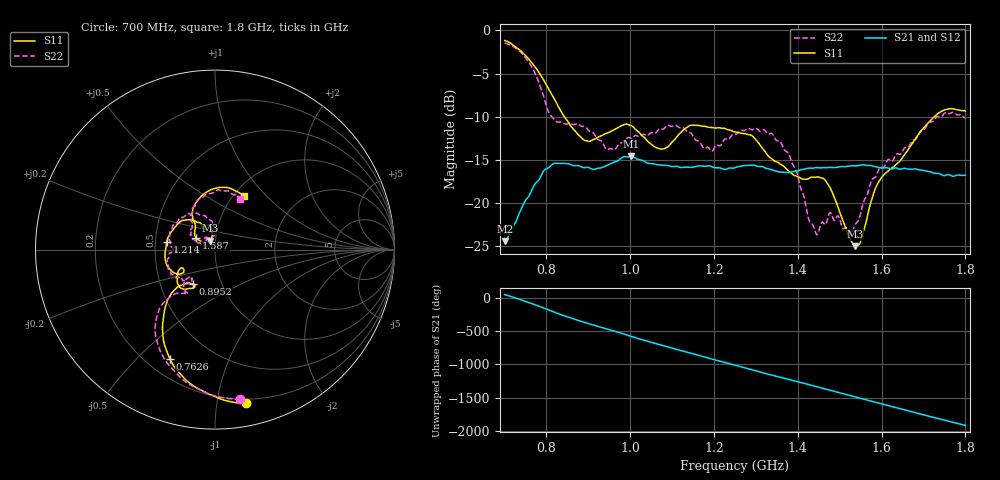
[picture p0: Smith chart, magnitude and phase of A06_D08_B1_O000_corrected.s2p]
! Created with skrf 1.9.0 (http://scikit-rf.org).
# Hz S RI R 50.0
!freq ReS11 ImS11 ReS21 ImS21 ReS12 ImS12 ReS22 ImS22
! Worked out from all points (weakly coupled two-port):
!   1601 points, 700 MHz to 1.8 GHz, reference 50 ohm
!   highest |S21| = -14.57 dB at 1.002 GHz (marker M1); lowest = -24.4 dB at 700.7 MHz (marker M2)
!   lowest |S11| = -25.0 dB at 1.536 GHz (marker M3), VSWR 1.12, Z = 47.3 + j4.78 ohm
!   |S11| at or under -10 dB: 842.7 MHz to 1.726 GHz (883 MHz wide, 68.8 % of centre)
!   |S22| runs from -23.7 to -1.5 dB; largest |S21 - S12| = 0.0037
!   S11 on the Smith chart (normalised r, x): 700 MHz: 0.17, -1.21; 762.6 MHz: 0.29, -0.63; 895.2 MHz: 0.73, -0.30; 1.214 GHz: 0.57, +0.05; 1.587 GHz: 0.80, +0.11; 1.8 GHz: 1.12, +0.76
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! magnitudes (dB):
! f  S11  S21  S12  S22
! 700 MHz  -1.2  -24.4  -24.2  -1.5
! 700.7 MHz  -1.2  -24.4  -24.1  -1.5
! 762.6 MHz  -3.6  -18.8  -18.7  -4.1
! 814.1 MHz  -7.5  -15.5  -15.5  -10.1
! 883.6 MHz  -12.4  -15.8  -15.7  -11.1
! 895.2 MHz  -12.8  -15.9  -16.0  -11.3
! 945.4 MHz  -11.9  -15.6  -15.6  -13.8
! 1.002 GHz  -11.0  -14.6  -14.7  -12.5
! 1.067 GHz  -13.7  -15.6  -15.5  -11.5
! 1.143 GHz  -11.0  -15.9  -15.9  -11.9
! 1.214 GHz  -11.3  -15.9  -15.9  -13.4
! 1.25 GHz  -11.8  -15.9  -15.8  -12.0
! 1.358 GHz  -15.5  -16.4  -16.4  -12.9
! 1.396 GHz  -16.9  -16.3  -16.3  -16.2
! 1.434 GHz  -17.0  -16.0  -15.9  -22.4
! 1.472 GHz  -17.8  -15.9  -15.9  -21.6
! 1.536 GHz  -25.0  -15.7  -15.7  -22.6
! 1.55 GHz  -24.4  -15.6  -15.6  -21.1
! 1.587 GHz  -18.1  -15.8  -15.8  -16.9
! 1.617 GHz  -16.2  -16.0  -15.9  -14.9
! 1.733 GHz  -9.7  -16.6  -16.6  -10.0
! 1.8 GHz  -9.3  -16.8  -16.8  -10.1
